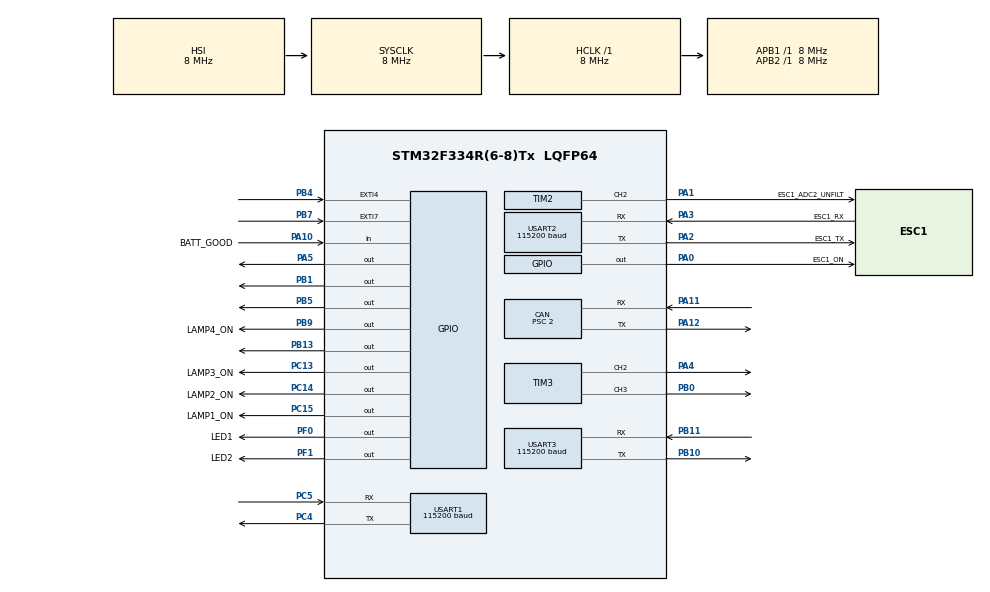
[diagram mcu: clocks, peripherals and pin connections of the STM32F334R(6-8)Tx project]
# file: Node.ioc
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CAN.BS1=CAN_BS1_3TQ
CAN.BS2=CAN_BS2_4TQ
CAN.CalculateBaudRate=500000
CAN.CalculateTimeBit=2000
CAN.CalculateTimeQuantum=250.0
CAN.Prescaler=2
Mcu.Family=STM32F3
Mcu.Name=STM32F334R(6-8)Tx
Mcu.Package=LQFP64
NVIC.EXTI4_IRQn=true\:0\:0\:false\:false\:true\:true\:true\:true
NVIC.EXTI9_5_IRQn=true\:0\:0\:false\:false\:true\:true\:true\:true
NVIC.PriorityGroup=NVIC_PRIORITYGROUP_4
NVIC.USART1_IRQn=true\:0\:0\:false\:false\:true\:true\:true\:true
NVIC.USART2_IRQn=true\:0\:0\:false\:false\:true\:true\:true\:true
NVIC.USART3_IRQn=true\:0\:0\:false\:false\:true\:true\:true\:true
PA0.GPIO_Label=ESC1_ON
PA0.Signal=GPIO_Output
PA1.GPIO_Label=ESC1_ADC2_UNFILT
PA1.Signal=S_TIM2_CH2
PA10.GPIO_Label=BATT_GOOD
PA10.Signal=GPIO_Input
PA11.Mode=CAN_Activate
PA11.Signal=CAN_RX
PA12.Mode=CAN_Activate
PA12.Signal=CAN_TX
PA13.Mode=Serial_Wire
PA13.Signal=SYS_JTMS-SWDIO
PA14.Mode=Serial_Wire
PA14.Signal=SYS_JTCK-SWCLK
PA2.GPIO_Label=ESC1_TX
PA2.Mode=Asynchronous
PA2.Signal=USART2_TX
PA3.GPIO_Label=ESC1_RX
PA3.Mode=Asynchronous
PA3.Signal=USART2_RX
PA4.Signal=S_TIM3_CH2
PA5.Signal=GPIO_Output
PA6.Signal=S_TIM3_CH1
PA7.Signal=SPI1_MOSI
PB0.Signal=S_TIM3_CH3
PB1.Signal=GPIO_Output
PB10.Mode=Asynchronous
PB10.Signal=USART3_TX
PB11.Mode=Asynchronous
PB11.Signal=USART3_RX
PB13.Signal=GPIO_Output
PB14.Signal=S_TIM15_CH1
PB15.Signal=S_TIM15_CH2
PB4.Signal=GPXTI4
PB5.Signal=GPIO_Output
PB7.Signal=GPXTI7
PB9.GPIO_Label=LAMP4_ON
PB9.Signal=GPIO_Output
PC13.GPIO_Label=LAMP3_ON
PC13.Signal=GPIO_Output
PC14\ /\ OSC32_IN.GPIO_Label=LAMP2_ON
PC14\ /\ OSC32_IN.Signal=GPIO_Output
PC15\ /\ OSC32_OUT.GPIO_Label=LAMP1_ON
PC15\ /\ OSC32_OUT.Signal=GPIO_Output
PC4.Mode=Asynchronous
PC4.Signal=USART1_TX
PC5.Mode=Asynchronous
PC5.Signal=USART1_RX
PF0\ /\ OSC_IN.GPIO_Label=LED1
PF0\ /\ OSC_IN.Signal=GPIO_Output
PF1\ /\ OSC_OUT.GPIO_Label=LED2
PF1\ /\ OSC_OUT.Signal=GPIO_Output
ProjectManager.HeapSize=0x200
ProjectManager.StackSize=0x400
ProjectManager.TargetToolchain=Makefile
RCC.AHBFreq_Value=8000000
RCC.APB1Freq_Value=8000000
RCC.APB2Freq_Value=8000000
RCC.CortexFreq_Value=8000000
RCC.HSE_VALUE=8000000
RCC.HSI_VALUE=8000000
RCC.LSE_VALUE=32768
RCC.SYSCLKFreq_VALUE=8000000
SH.S_TIM15_CH1.0=TIM15_CH1
SH.S_TIM15_CH2.0=TIM15_CH2
SH.S_TIM2_CH2.0=TIM2_CH2,PWM Generation2 CH2
SH.S_TIM3_CH1.0=TIM3_CH1
SH.S_TIM3_CH2.0=TIM3_CH2,PWM Generation2 CH2
SH.S_TIM3_CH3.0=TIM3_CH3,PWM Generation3 CH3
TIM2.Channel-PWM\ Generation2\ CH2=TIM_CHANNEL_2
TIM3.Channel-PWM\ Generation2\ CH2=TIM_CHANNEL_2
TIM3.Channel-PWM\ Generation3\ CH3=TIM_CHANNEL_3
USART1.BaudRate=115200
USART1.VirtualMode-Asynchronous=VM_ASYNC
USART2.BaudRate=115200
USART2.VirtualMode-Asynchronous=VM_ASYNC
USART3.BaudRate=115200
USART3.VirtualMode-Asynchronous=VM_ASYNC
VP_TIM17_VS_ClockSourceINT.Mode=Enable_Timer
board=custom

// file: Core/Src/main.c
/* USER CODE BEGIN Header */
/**
  ******************************************************************************
  * @file           : main.c
  * @brief          : Main program body
  ******************************************************************************
  * @attention
  *
  * Copyright (c) 2022 STMicroelectronics.
  * All rights reserved.
  *
  * This software is licensed under terms that can be found in the LICENSE file
  * in the root directory of this software component.
  * If no LICENSE file comes with this software, it is provided AS-IS.
  *
  ******************************************************************************
  */
/* USER CODE END Header */
#include "bldc_interface.h"
#include "can.h"
#include "gpio.h"
#include "main.h"
#include "stm32f3xx_hal.h"
#include "stm32f3xx_hal_gpio.h"
#include "tim.h"
#include "usart.h"

/* USER CODE BEGIN Includes */
#include "bldc_interface_uart.h"
#include "can_handler.h"
#include "can_message_defs.h"
#include "state.h"

#include <stdbool.h>
#include <string.h>
/* USER CODE END Includes */

/* USER CODE BEGIN PV */
BldcInterface motor1 = {0};
BldcInterface motor2 = {0};
BldcInterface motor3 = {0};

state curr_state = BOOT;
state next_state = BOOT;

uint32_t last_heartbeat_received = 0;
static const uint32_t HEARTBEAT_EXPIRED_MS = 1000;

uint8_t vesc_data_valid[3] = {0};
/* USER CODE END PV */

void SystemClock_Config(void);

/* USER CODE BEGIN 0 */
static void write_packet_motor1(unsigned char* data, unsigned int len)
{
  HAL_UART_Transmit(&huart2, data, len, 1000);
}

static void write_packet_motor2(unsigned char* data, unsigned int len)
{
  HAL_UART_Transmit(&huart3, data, len, 1000);
}

static void write_packet_motor3(unsigned char* data, unsigned int len)
{
  HAL_UART_Transmit(&huart1, data, len, 1000);
}

uint8_t rx_data_motor1;
uint8_t rx_data_motor2;
uint8_t rx_data_motor3;

uint32_t last_time;
uint32_t second_last_time;

// E-stop interrupts
void HAL_GPIO_EXTI_Callback(uint16_t gpio_pin)
{
  if (gpio_pin == GPIO_PIN_7 || gpio_pin == GPIO_PIN_4)
  {
    next_state = STANDBY;
  }
}

void HAL_UART_RxCpltCallback(UART_HandleTypeDef *huart)
{
  BldcInterface* motor;
  unsigned char* data;
  if (huart == &huart1)
  {
    motor = &motor3;
    data = &rx_data_motor3;
  }
  else if (huart == &huart2)
  {
    motor = &motor1;
    data = &rx_data_motor1;
  }
  else // huart == &huart3
  {
    motor = &motor2;
    data = &rx_data_motor2;
  }

  bldc_interface_uart_process_byte(motor, *data);
  HAL_UART_Receive_IT(huart, data, 1);
}

static void bldc_values_received_motor1(mc_values* val)
{
  static const uint32_t motor1_ids[] = {
    0x40,
    0x41,
    0x42,
    0x43,
    0x44
  };

  vesc_data_valid[0] = 1;

  CanMessage message1;
  message1.id = motor1_ids[0];
  message1.len = 8;
  memcpy(message1.data, &val->v_in, 4);
  memcpy((message1.data + 4), &val->temp_mos, 4);

  CanMessage message2;
  message2.id = motor1_ids[1];
  message2.len = 8;
  memcpy(message2.data, &val->temp_motor, 4);
  memcpy((message2.data + 4), &val->current_motor, 4);

  CanMessage message3;
  message3.id = motor1_ids[2];
  message3.len = 8;
  memcpy(message3.data, &val->current_in, 4);
  memcpy((message3.data + 4), &val->id, 4);

  CanMessage message4;
  message4.id = motor1_ids[3];
  message4.len = 8;
  memcpy(message4.data, &val->iq, 4);
  memcpy((message4.data + 4), &val->rpm, 4);

  CanMessage message5;
  message5.id = motor1_ids[4];
  message5.len = 8;
  memcpy(message5.data, &val->duty_now, 4);
  memcpy((message5.data + 4), &val->amp_hours, 4);

  //send_can_message(&message1);
  // send_can_message_blocking(&message2);
  // send_can_message_blocking(&message3);
  // send_can_message_blocking(&message4);
  // send_can_message_blocking(&message5);
}

static void bldc_values_received_motor2(mc_values* val)
{
  static const uint32_t motor2_ids[] = {
    0x50,
    0x51,
    0x52,
    0x53,
    0x54
  };

  vesc_data_valid[1] = 1;

  CanMessage message1;
  message1.id = motor2_ids[0];
  message1.len = 8;
  memcpy(message1.data, &val->v_in, 4);
  memcpy((message1.data + 4), &val->temp_mos, 4);

  CanMessage message2;
  message2.id = motor2_ids[1];
  message2.len = 8;
  memcpy(message2.data, &val->temp_motor, 4);
  memcpy((message2.data + 4), &val->current_motor, 4);

  CanMessage message3;
  message3.id = motor2_ids[2];
  message3.len = 8;
  memcpy(message3.data, &val->current_in, 4);
  memcpy((message3.data + 4), &val->id, 4);

  CanMessage message4;
  message4.id = motor2_ids[3];
  message4.len = 8;
  memcpy(message4.data, &val->iq, 4);
  memcpy((message4.data + 4), &val->rpm, 4);

  CanMessage message5;
  message5.id = motor2_ids[4];
  message5.len = 8;
  memcpy(message5.data, &val->duty_now, 4);
  memcpy((message5.data + 4), &val->amp_hours, 4);

  send_can_message_blocking(&message1);
  // send_can_message_blocking(&message2);
  // send_can_message_blocking(&message3);
  // send_can_message_blocking(&message4);
  // send_can_message_blocking(&message5);
}
static void bldc_values_received_motor3(mc_values* val)
{
  static const uint32_t motor3_ids[] = {
    0x60,
    0x61,
    0x62,
    0x63,
    0x64
  };

  vesc_data_valid[2] = 1;

  CanMessage message1;
  message1.id = motor3_ids[0];
  message1.len = 8;
  memcpy(message1.data, &val->v_in, 4);
  memcpy((message1.data + 4), &val->temp_mos, 4);

  CanMessage message2;
  message2.id = motor3_ids[1];
  message2.len = 8;
  memcpy(message2.data, &val->temp_motor, 4);
  memcpy((message2.data + 4), &val->current_motor, 4);

  CanMessage message3;
  message3.id = motor3_ids[2];
  message3.len = 8;
  memcpy(message3.data, &val->current_in, 4);
  memcpy((message3.data + 4), &val->id, 4);

  CanMessage message4;
  message4.id = motor3_ids[3];
  message4.len = 8;
  memcpy(message4.data, &val->iq, 4);
  memcpy((message4.data + 4), &val->rpm, 4);

  CanMessage message5;
  message5.id = motor3_ids[4];
  message5.len = 8;
  memcpy(message5.data, &val->duty_now, 4);
  memcpy((message5.data + 4), &val->amp_hours, 4);

  send_can_message_blocking(&message1);
  // send_can_message_blocking(&message2);
  // send_can_message_blocking(&message3);
  // send_can_message_blocking(&message4);
  // send_can_message_blocking(&message5);
}

static void write_lamps(void)
{
  // Solid LEDs
  if (curr_state == STANDBY)
  {
    HAL_GPIO_WritePin(LAMP1_ON_GPIO_Port, LAMP1_ON_Pin, GPIO_PIN_SET);
    HAL_GPIO_WritePin(LAMP2_ON_GPIO_Port, LAMP2_ON_Pin, GPIO_PIN_SET);
    HAL_GPIO_WritePin(LAMP3_ON_GPIO_Port, LAMP3_ON_Pin, GPIO_PIN_SET);
    HAL_GPIO_WritePin(LAMP4_ON_GPIO_Port, LAMP4_ON_Pin, GPIO_PIN_SET);
  }

  // Blink LEDs in Autonomous drive
  else if (curr_state == AUTONOMOUS)
  {
    // Wait 0.5 seconds for flash in Autonomous
    if (HAL_GetTick()-last_time > 250)
    {
      HAL_GPIO_TogglePin(LAMP1_ON_GPIO_Port, LAMP1_ON_Pin);
      HAL_GPIO_TogglePin(LAMP2_ON_GPIO_Port, LAMP2_ON_Pin);
      HAL_GPIO_TogglePin(LAMP3_ON_GPIO_Port, LAMP3_ON_Pin);
      HAL_GPIO_TogglePin(LAMP4_ON_GPIO_Port, LAMP4_ON_Pin);
      last_time = HAL_GetTick();
    }
  }

  // Blink LEDs in Manual drive
  else if (curr_state == MANUAL)
  {
    // Wait 0.3 seconds for flash in Manual
    if (HAL_GetTick()-second_last_time > 2000)
    {
      HAL_GPIO_TogglePin(LAMP1_ON_GPIO_Port, LAMP1_ON_Pin);
      HAL_GPIO_TogglePin(LAMP2_ON_GPIO_Port, LAMP2_ON_Pin);
      HAL_GPIO_TogglePin(LAMP3_ON_GPIO_Port, LAMP3_ON_Pin);
      HAL_GPIO_TogglePin(LAMP4_ON_GPIO_Port, LAMP4_ON_Pin);
      second_last_time = HAL_GetTick();
    }
  }

  // Blink LEDs in Manual drive
  else if (curr_state == BOOT)
  {
    // Wait 0.3 seconds for flash in Manual
    if (HAL_GetTick()-second_last_time > 25)
    {
      HAL_GPIO_TogglePin(LAMP1_ON_GPIO_Port, LAMP1_ON_Pin);
      HAL_GPIO_TogglePin(LAMP2_ON_GPIO_Port, LAMP2_ON_Pin);
      HAL_GPIO_TogglePin(LAMP3_ON_GPIO_Port, LAMP3_ON_Pin);
      HAL_GPIO_TogglePin(LAMP4_ON_GPIO_Port, LAMP4_ON_Pin);
      second_last_time = HAL_GetTick();
    }
  }
}

int heartbeat_expired(uint32_t last_heartbeat_received_ms)
{
  return (HAL_GetTick() - last_heartbeat_received_ms) > HEARTBEAT_EXPIRED_MS;
}

static void send_current_state(state curr_state)
{
  CanMessage message;
  message.len = 0;

  switch (curr_state)
  {
    case BOOT:
      message.id = BOOT_RESPONSE_CAN_ID;
      break;
    case STANDBY:
      message.id = STANDBY_RESPONSE_CAN_ID;
      break;
    case MANUAL:
      message.id = MANUAL_RESPONSE_CAN_ID;
      break;
    case AUTONOMOUS:
      message.id = AUTONOMOUS_RESPONSE_CAN_ID;
      break;
  }

  send_can_message(&message);
}

static const uint32_t GET_VALUES_INTERVAL = 500;

static void try_get_values_motor(BldcInterface* motor, uint32_t* last_received)
{
  if (HAL_GetTick() - *last_received > GET_VALUES_INTERVAL)
  {
    bldc_interface_get_values(motor);
    *last_received = HAL_GetTick();
  }
}

static const uint32_t SEND_CURRENT_STATE_INTERVAL = 500;

static void try_send_current_state(state curr_state, uint32_t* last_received)
{
  if (HAL_GetTick() - *last_received > SEND_CURRENT_STATE_INTERVAL)
  {
    send_current_state(curr_state);
    *last_received = HAL_GetTick();
  }
}

/* USER CODE END 0 */

int main(void)
{
  /* USER CODE BEGIN 1 */
  bldc_interface_uart_init(&motor1, write_packet_motor1);
  bldc_interface_set_rx_value_func(&motor1, bldc_values_received_motor1);

  bldc_interface_uart_init(&motor2, write_packet_motor2);
  bldc_interface_set_rx_value_func(&motor2, bldc_values_received_motor2);

  bldc_interface_uart_init(&motor3, write_packet_motor3);
  bldc_interface_set_rx_value_func(&motor3, bldc_values_received_motor3);

  /* USER CODE END 1 */

  /* MCU Configuration--------------------------------------------------------*/

  /* Reset of all peripherals, Initializes the Flash interface and the Systick. */
  HAL_Init();

  /* Configure the system clock */
  SystemClock_Config();

  /* Initialize all configured peripherals */
  MX_GPIO_Init();
  MX_CAN_Init();
  MX_USART1_UART_Init();
  MX_USART2_UART_Init();
  MX_USART3_UART_Init();
  MX_TIM2_Init();
  MX_TIM3_Init();
  MX_TIM17_Init();
  /* USER CODE BEGIN 2 */

  last_time = HAL_GetTick();
  second_last_time = HAL_GetTick();

  CAN_FilterTypeDef sf;
  sf.FilterMaskIdHigh = 0x0000;
  sf.FilterMaskIdLow = 0x0000;
  sf.FilterFIFOAssignment = CAN_FILTER_FIFO0;
  sf.FilterBank = 0;
  sf.FilterMode = CAN_FILTERMODE_IDMASK;
  sf.FilterScale = CAN_FILTERSCALE_32BIT;
  sf.FilterActivation = CAN_FILTER_ENABLE;
  if (HAL_CAN_ConfigFilter(&hcan, &sf) != HAL_OK) {
    Error_Handler();
  }
  HAL_CAN_Start(&hcan);

  HAL_UART_Receive_IT(&huart1, &rx_data_motor1, 1);
  HAL_UART_Receive_IT(&huart2, &rx_data_motor2, 1);
  HAL_UART_Receive_IT(&huart3, &rx_data_motor3, 1);

  uint32_t motor1_values_last_received = HAL_GetTick();
  uint32_t motor2_values_last_received = HAL_GetTick() + 100;
  uint32_t motor3_values_last_received = HAL_GetTick() + 200;

  uint32_t current_state_last_sent = HAL_GetTick();

  /* USER CODE END 2 */

  /* Infinite loop */
  /* USER CODE BEGIN WHILE */
  while (1)
  {
    handle_can_messages(5);

    // Actuate GPIOs based on current state
    write_lamps();
    // try_send_current_state(curr_state, &current_state_last_sent);

    if (heartbeat_expired(last_heartbeat_received))
    {
      curr_state = BOOT;
      next_state = BOOT;
      vesc_data_valid[0] = 0;
      vesc_data_valid[1] = 0;
      vesc_data_valid[2] = 0;
      last_heartbeat_received = 0;
      continue;
    }

    // try_get_values_motor(&motor1, &motor1_values_last_received);
    // try_get_values_motor(&motor2, &motor2_values_last_received);
    // try_get_values_motor(&motor3, &motor3_values_last_received);

    if (curr_state == BOOT)
    {
      next_state = STANDBY;
    }

    curr_state = next_state;  // next state is set based on CAN Messages

    /* USER CODE END WHILE */

  }
}

void SystemClock_Config(void)
{
  RCC_OscInitTypeDef RCC_OscInitStruct = {0};
  RCC_ClkInitTypeDef RCC_ClkInitStruct = {0};
  RCC_PeriphCLKInitTypeDef PeriphClkInit = {0};

  /** Initializes the RCC Oscillators according to the specified parameters
  * in the RCC_OscInitTypeDef structure.
  */
  RCC_OscInitStruct.OscillatorType = RCC_OSCILLATORTYPE_HSI;
  RCC_OscInitStruct.HSIState = RCC_HSI_ON;
  RCC_OscInitStruct.HSICalibrationValue = RCC_HSICALIBRATION_DEFAULT;
  RCC_OscInitStruct.PLL.PLLState = RCC_PLL_NONE;
  if (HAL_RCC_OscConfig(&RCC_OscInitStruct) != HAL_OK)
  {
    Error_Handler();
  }

  /** Initializes the CPU, AHB and APB buses clocks
  */
  RCC_ClkInitStruct.ClockType = RCC_CLOCKTYPE_HCLK|RCC_CLOCKTYPE_SYSCLK
                              |RCC_CLOCKTYPE_PCLK1|RCC_CLOCKTYPE_PCLK2;
  RCC_ClkInitStruct.SYSCLKSource = RCC_SYSCLKSOURCE_HSI;
  RCC_ClkInitStruct.AHBCLKDivider = RCC_SYSCLK_DIV1;
  RCC_ClkInitStruct.APB1CLKDivider = RCC_HCLK_DIV1;
  RCC_ClkInitStruct.APB2CLKDivider = RCC_HCLK_DIV1;

  if (HAL_RCC_ClockConfig(&RCC_ClkInitStruct, FLASH_LATENCY_0) != HAL_OK)
  {
    Error_Handler();
  }
  PeriphClkInit.PeriphClockSelection = RCC_PERIPHCLK_USART1;
  PeriphClkInit.Usart1ClockSelection = RCC_USART1CLKSOURCE_PCLK1;
  if (HAL_RCCEx_PeriphCLKConfig(&PeriphClkInit) != HAL_OK)
  {
    Error_Handler();
  }
}

void Error_Handler(void)
{
  __disable_irq();
  while (1)
  {
  }
}
